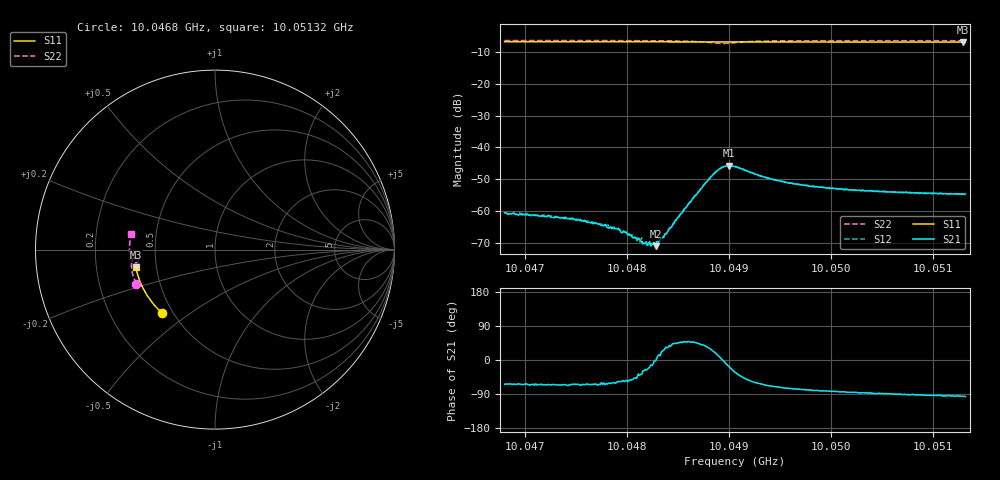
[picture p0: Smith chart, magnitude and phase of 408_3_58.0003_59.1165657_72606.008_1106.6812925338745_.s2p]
#  HZ  S  RI  R  50.00
! Rohde & Schwarz Vector Network Analyzer
! Rohde-Schwarz,ZNB20-2Port,1311601062101988,3.16
! Created: UTC 3/21/2024, 1:08:38 AM
! freq[Hz]  re:S11  im:S11  re:S21  im:S21  re:S12  im:S12  re:S22  im:S22
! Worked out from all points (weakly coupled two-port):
!   401 points, 10.0468 GHz to 10.05132 GHz, reference 50 ohm
!   highest |S21| = -45.77 dB at 10.049 GHz (marker M1); lowest = -71.1 dB at 10.04828 GHz (marker M2)
!   lowest |S11| = -6.9 dB at 10.0513 GHz (marker M3), VSWR 2.65, Z = 19.1 - j4.73 ohm
!   |S11| at or under -10 dB: nowhere
!   |S22| runs from -7.3 to -6.4 dB; largest |S21 - S12| = 0.00037
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1.0046799e10  -0.2973 -0.351  0.000401 -0.00084  0.000463 -0.000826  -0.4402 -0.1919
1.0047171e10  -0.3151 -0.334  0.000342 -0.000761  0.000434 -0.000751  -0.4491 -0.1684
1.0047556e10  -0.3325 -0.3155  0.000288 -0.000627  0.000343 -0.000625  -0.457 -0.143
1.0047793e10  -0.3427 -0.3036  0.000276 -0.000524  0.000293 -0.000485  -0.461 -0.1267
1.0047906e10  -0.3474 -0.2976  0.000288 -0.00044  0.000282 -0.000424  -0.4624 -0.1189
1.004794e10  -0.3489 -0.2959  0.000248 -0.000388  0.000284 -0.000409  -0.463 -0.1163
1.0048121e10  -0.3561 -0.2867  0.000274 -0.000237  0.000256 -0.0002  -0.4652 -0.103
1.0048177e10  -0.3584 -0.2838  0.000278 -0.00013  0.00029 -0.00013  -0.4656 -0.0986
1.0048279e10  -0.3623 -0.2783  0.000278 -1.24e-05  0.000328 3.45e-05  -0.4663 -0.0905
1.0048313e10  -0.3635 -0.2766  0.000331 8.07e-05  0.000327 0.000106  -0.4663 -0.088
1.0048369e10  -0.3658 -0.2735  0.000372 0.00021  0.000363 0.000225  -0.4662 -0.0831
1.0048618e10  -0.375 -0.2597  0.000919 0.001  0.000873 0.00108  -0.4622 -0.0599
1.0048844e10  -0.3826 -0.2472  0.00343 0.00148  0.00334 0.00172  -0.439 -0.0442
1.0048923e10  -0.3851 -0.2428  0.00474 0.000342  0.00475 0.000605  -0.4284 -0.0521
1.0049002e10  -0.3878 -0.2384  0.00489 -0.00161  0.00505 -0.00132  -0.4302 -0.0659
1.0049058e10  -0.3896 -0.2355  0.00419 -0.00265  0.00443 -0.0024  -0.4384 -0.0713
1.0049443e10  -0.4018 -0.2132  0.00105 -0.00289  0.00125 -0.00284  -0.4704 -0.0443
1.0049816e10  -0.4121 -0.1909  0.000431 -0.00239  0.000568 -0.00241  -0.4757 -0.0143
1.0050166e10  -0.4207 -0.1699  0.000176 -0.00216  0.000315 -0.00213  -0.4764 0.0114
1.0050573e10  -0.4296 -0.1446  2.82e-05 -0.00198  0.000156 -0.002  -0.4749 0.0396
1.0051296e10  -0.4411 -0.0987  -0.0002 -0.00182  -6.77e-05 -0.00185  -0.4681 0.0877
1.0051318e10  -0.4415 -0.0972  -0.000218 -0.00184  -9.84e-05 -0.00182  -0.4677 0.0893
